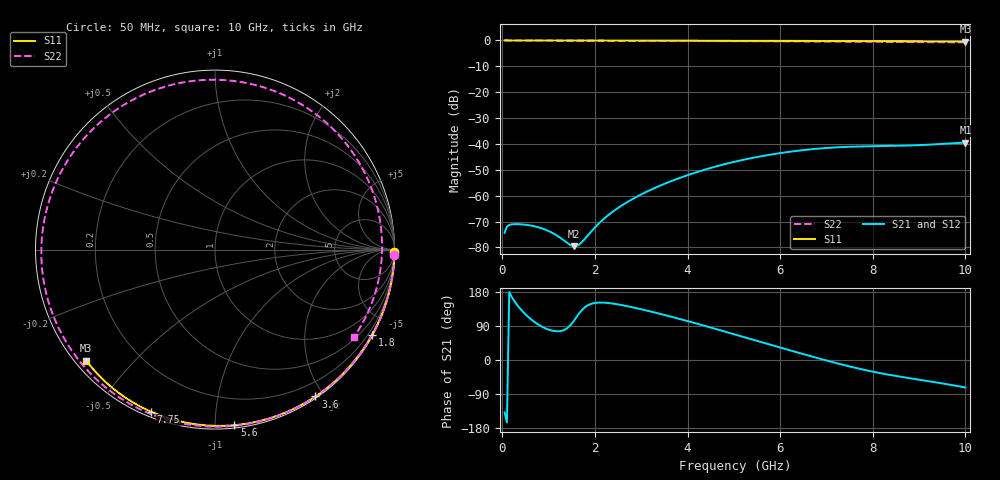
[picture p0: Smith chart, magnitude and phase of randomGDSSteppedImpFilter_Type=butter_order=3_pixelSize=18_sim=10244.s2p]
! freq	dB(S11)	phase(S11)	dB(S12)	phase(S12)
!  dB(S21)	phase(S21)	dB(S22)	phase(S22)
!S-par simulation data
#  GHz  S  DB  R 50
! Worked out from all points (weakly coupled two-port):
!   200 points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, 50 MHz to 10 GHz, reference 50 ohm
!   highest |S21| = -39.46 dB at 10 GHz (marker M1); lowest = -79.5 dB at 1.55 GHz (marker M2)
!   lowest |S11| = -0.5 dB at 10 GHz (marker M3), VSWR 36.85, Z = 1.54 - j18.6 ohm
!   |S11| at or under -10 dB: nowhere
!   |S22| runs from -0.8 to 0.0 dB; largest |S21 - S12| = 0
!   S11 on the Smith chart (normalised r, x): 50 MHz: open; 1.8 GHz: 0.03, -3.94; 3.6 GHz: 0.02, -1.90; 5.6 GHz: 0.02, -1.12; 7.75 GHz: 0.02, -0.68; 10 GHz: 0.03, -0.37
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0.05  -0.00 -0.8  -74.39 -138.2  -74.39 -138.2  -0.00 -1.7
0.1  -0.00 -1.6  -71.96 -164.6  -71.96 -164.6  -0.00 -3.4
0.2  -0.00 -3.2  -71.10 167.3  -71.10 167.3  -0.00 -6.8
0.65  -0.01 -10.4  -71.68 104.5  -71.68 104.5  -0.02 -22.0
1.05  -0.02 -16.8  -74.11 78.3  -74.11 78.3  -0.04 -35.4
1.55  -0.03 -24.6  -79.53 104.0  -79.53 104.0  -0.07 -51.9
1.75  -0.04 -27.7  -77.35 135.7  -77.35 135.7  -0.07 -58.5
1.8  -0.04 -28.5  -76.34 140.7  -76.34 140.7  -0.08 -60.1
2.45  -0.05 -38.5  -65.36 147.7  -65.36 147.7  -0.10 -81.3
3.4  -0.07 -52.7  -56.20 122.0  -56.20 122.0  -0.15 -112.2
3.6  -0.07 -55.6  -54.72 115.8  -54.72 115.8  -0.16 -118.7
4.4  -0.10 -67.1  -49.80 89.2  -49.80 89.2  -0.21 -145.6
5.05  -0.12 -76.2  -46.75 66.4  -46.75 66.4  -0.26 -168.7
5.6  -0.14 -83.7  -44.73 46.9  -44.73 46.9  -0.31 170.3
6.15  -0.16 -91.0  -43.17 27.6  -43.17 27.6  -0.36 147.6
6.7  -0.19 -98.1  -42.02 8.7  -42.02 8.7  -0.42 122.9
7.25  -0.22 -105.2  -41.29 -9.4  -41.29 -9.4  -0.47 96.5
7.75  -0.26 -111.5  -40.98 -24.2  -40.98 -24.2  -0.51 71.3
8.35  -0.30 -118.9  -40.81 -38.9  -40.81 -38.9  -0.54 41.0
9.1  -0.37 -128.1  -40.39 -53.9  -40.39 -53.9  -0.61 5.1
9.5  -0.41 -133.0  -40.00 -61.7  -40.00 -61.7  -0.67 -12.4
10  -0.47 -139.2  -39.46 -72.5  -39.46 -72.5  -0.78 -32.4
